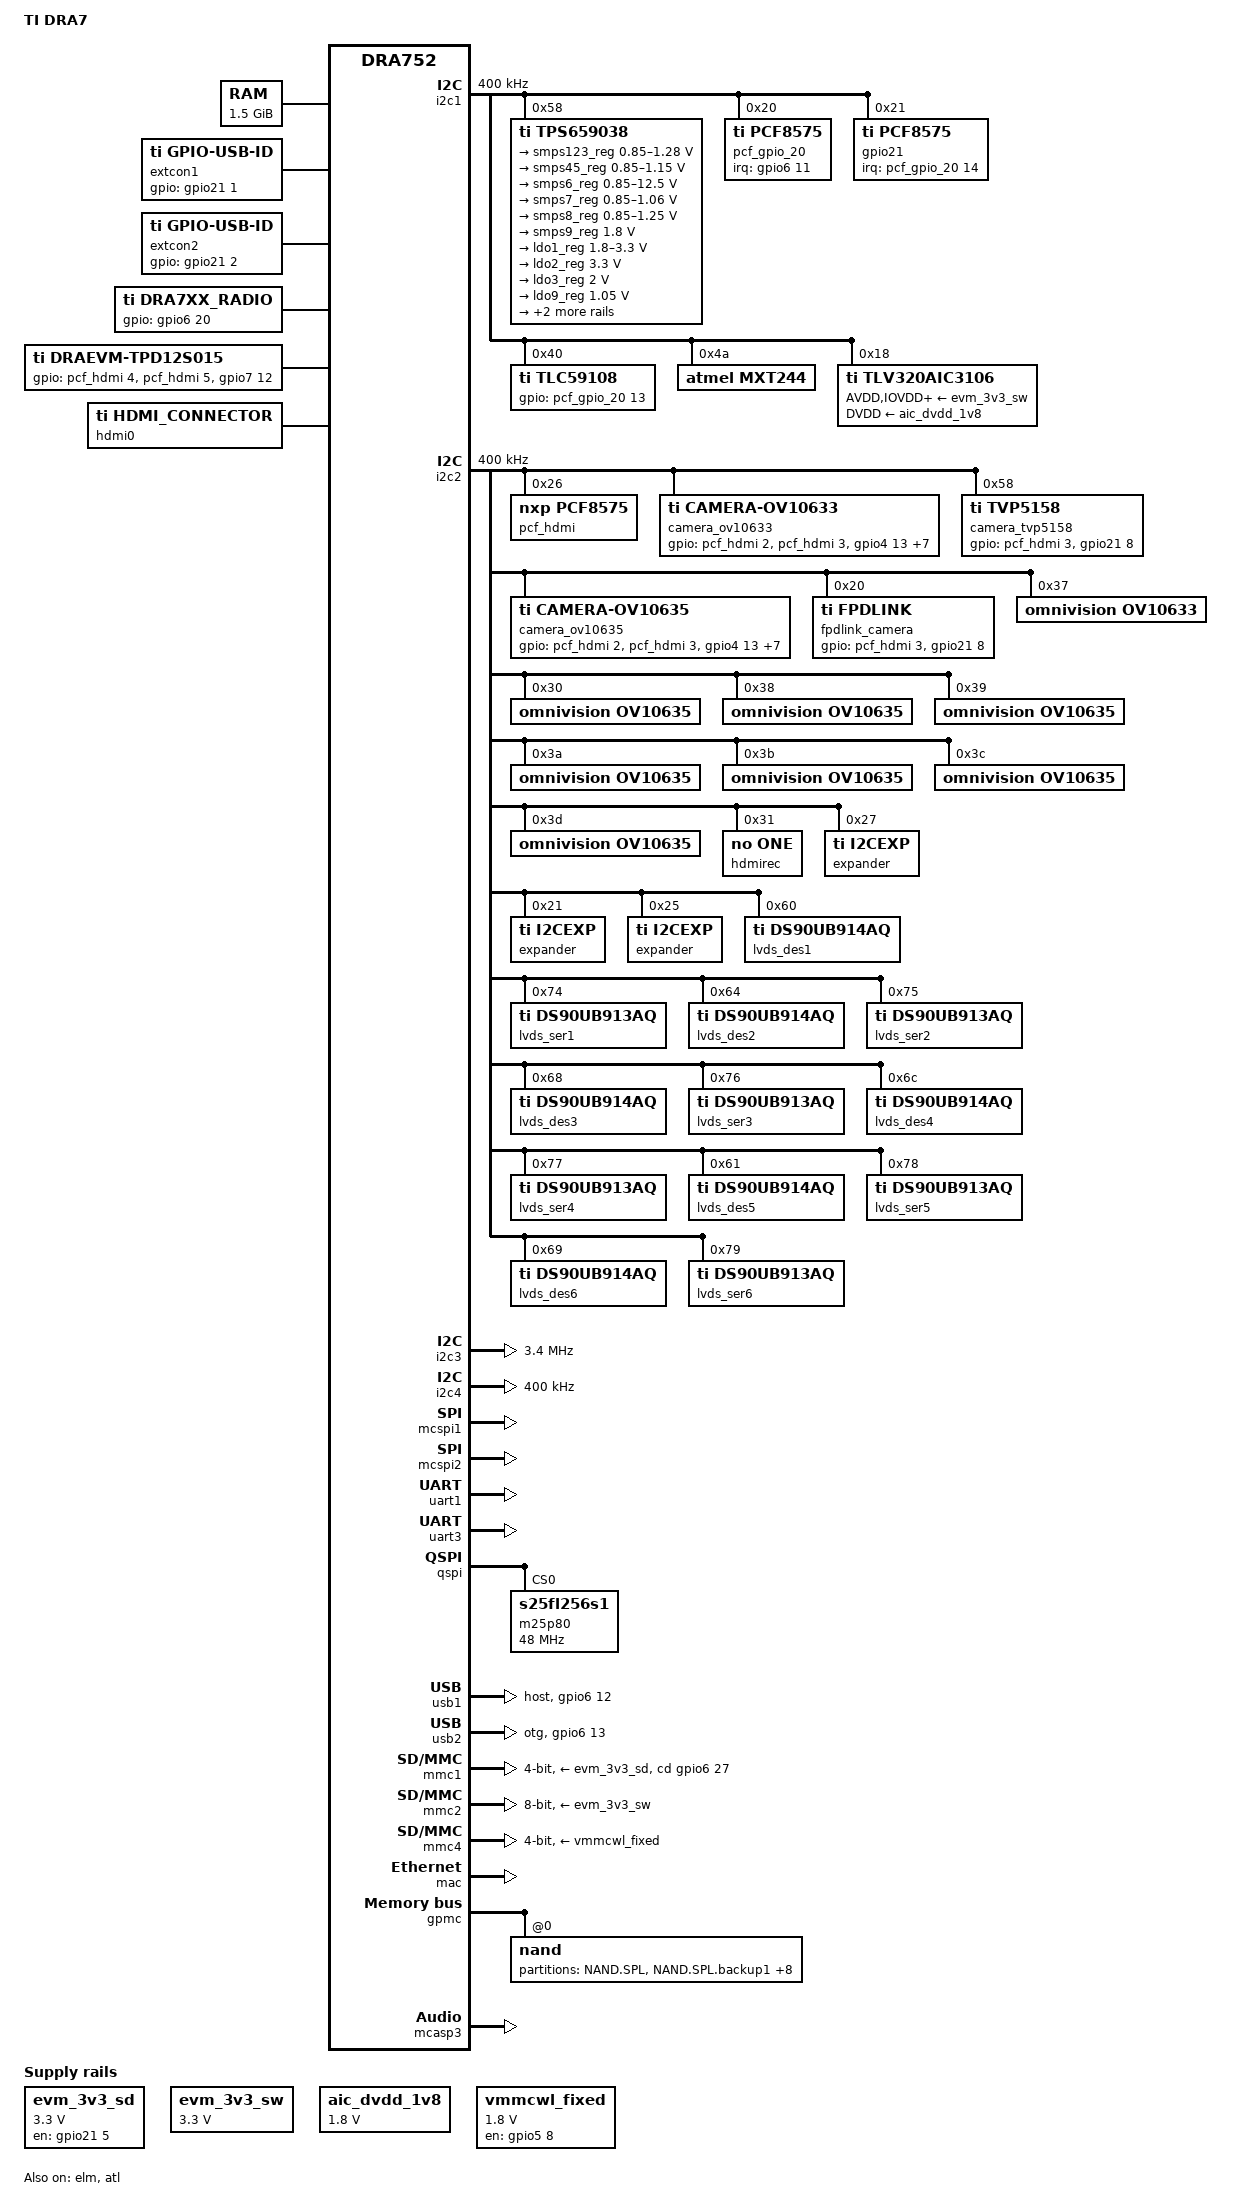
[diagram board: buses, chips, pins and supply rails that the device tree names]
/*
 * Copyright (C) 2013 Texas Instruments Incorporated - http://www.ti.com/
 *
 * This program is free software; you can redistribute it and/or modify
 * it under the terms of the GNU General Public License version 2 as
 * published by the Free Software Foundation.
 */
/dts-v1/;

#include "dra7.dtsi"
#include <dt-bindings/pinctrl/dra7xx.h>
#include <dt-bindings/clk/ti-dra7-atl.h>

/ {
	model = "TI DRA7";
	compatible = "ti,dra7-evm", "ti,dra752", "ti,dra7";

	memory {
		device_type = "memory";
		reg = <0x80000000 0x60000000>; /* 1536 MB */
	};

	extcon1: gpio_usbvid_extcon1 {
		compatible = "ti,gpio-usb-id";
		gpios = <&gpio21 1 0>;
	};

	extcon2: gpio_usbvid_extcon2 {
		compatible = "ti,gpio-usb-id";
		gpios = <&gpio21 2 0>;
	};

	evm_3v3_sd: fixedregulator-sd {
		compatible = "regulator-fixed";
		regulator-name = "evm_3v3_sd";
		regulator-min-microvolt = <3300000>;
		regulator-max-microvolt = <3300000>;
		enable-active-high;
		gpio = <&gpio21 5 0>;
	};

	evm_3v3_sw: fixedregulator-evm_3v3_sw {
		compatible = "regulator-fixed";
		regulator-name = "evm_3v3_sw";
		regulator-min-microvolt = <3300000>;
		regulator-max-microvolt = <3300000>;
	};

	aic_dvdd_1v8: fixedregulator-aic-dvdd-1v8 {
		compatible = "regulator-fixed";
		regulator-name = "aic-dvdd-1v8";
		regulator-min-microvolt = <1800000>;
		regulator-max-microvolt = <1800000>;
		regulator-boot-on;
	};

	sound {
		compatible = "ti,dra7xx-evm-audio";
		ti,model = "DRA7xx-EVM";
		ti,always-on;
		ti,audio-codec = <&tlv320aic3106>;
		ti,mcasp-controller = <&mcasp3>;
		ti,codec-clock-rate = <5644800>;
		clocks = <&atl_clkin2_ck>;
		clock-names = "ti,codec-clock";
		ti,audio-routing =
			"Headphone Jack",       "HPLOUT",
			"Headphone Jack",       "HPROUT",
			"LINE1L",               "Line In",
			"LINE1R",               "Line In",
			"MIC3L",		"Mic Bias 2V",
			"MIC3R",		"Mic Bias 2V",
			"Mic Bias 2V",		"Main Mic",
			"Line Out",		"LLOUT",
			"Line Out",		"RLOUT";
	};

	radio {
		compatible = "ti,dra7xx_radio";
		gpios = <&gpio6 20 0>;

		radio_helper1 {
			compatible = "ti,dra7xx_radio_subdev";
			ti,hwmods = "mcasp2";
			status = "okay";
		};

		radio_helper2 {
			compatible = "ti,dra7xx_radio_subdev";
			ti,hwmods = "mcasp6";
			status = "okay";
			clocks = <&mcasp6_ahclkx_mux>;
			clock-names = "fck";
			clock-frequency = <11289600>;
			fck_parent = "atl_clkin1_ck";
		};
	};

       vmmcwl_fixed: fixedregulator-mmcwl {
               compatible = "regulator-fixed";
               regulator-name = "vmmcwl_fixed";
               regulator-min-microvolt = <1800000>;
               regulator-max-microvolt = <1800000>;
               gpio = <&gpio5 8 0>;    /* gpio5_8 */
               startup-delay-us = <70000>;
               enable-active-high;
       };

       wlcore {
               compatible = "wlcore";
               gpio = <135>;
       };


	ocp {
		gpu: gpu@0x56000000 {
			gpu-supply = <&abb_gpu>;
		};
	};

       kim {
               compatible = "kim";
               nshutdown_gpio = <132>;
               dev_name = "/dev/ttyO2";
               flow_cntrl = <1>;
               baud_rate = <3686400>;
       };

       btwilink {
               compatible = "btwilink";
       };
};

&dra7_pmx_core {
	pinctrl-names = "default";
	pinctrl-0 = <
		&vout1_pins
		&irq_pins
		&atl_pins
		&mcasp6_pins
		&hpd_pin
		&radio_pins
		&wl_pins
		&wlirq_pins
	>;

	atl_pins: pinmux_atl_pins {
		pinctrl-single,pins = <
			0x298 0x00000005	/* xref_clk1.atl_clk1 OUTPUT | MODE5 */
			0x29c 0x00000005	/* xref_clk2.atl_clk2 OUTPUT | MODE5 */
		>;
	};

	i2c1_pins: pinmux_i2c1_pins {
		pinctrl-single,pins = <
			0x400 0x60000	/* i2c1_sda */
			0x404 0x60000	/* i2c1_scl */
		>;
	};

	i2c2_pins: pinmux_i2c2_pins {
		pinctrl-single,pins = <
			0x408 0x60000	/* i2c2_sda */
			0x40c 0x60000	/* i2c2_scl */
		>;
	};

	i2c3_pins: pinmux_i2c3_pins {
		pinctrl-single,pins = <
			0x410 0x60000	/* i2c3_sda */
			0x414 0x60000	/* i2c3_scl */
		>;
	};

	i2c4_pins: pinmux_i2c4_pins {
		pinctrl-single,pins = <
			0x0334	 0x70004 /* I2C4_SDA: Mode5.Input.PD */
			0x0338	 0x70004 /* I2C4_SCL: Mode5.Input.PD */
		>;
	};

	irq_pins: pinmux_irq_pins {
		pinctrl-single,pins = <
			0x420	0x1	/* Wakeup2 INPUT | MODE1 */
		>;
	};

	mmc1_pins: pinmux_mmc1_pins {
		pinctrl-single,pins = <
			0x36c 0x4000e	/* mmc1sdcd.gpio INPUT | MODE15 */
		>;
	};

	mmc1_muxpu: pinmux_mmc1_muxpu {
		pinctrl-single,pins = <
			0x354 0x60000	/* mmc1_clk.clk INPUT PULLUP | MODE0 */
			0x358 0x60000	/* mmc1_cmd.cmd INPUT PULLUP | MODE0 */
			0x35c 0x60000	/* mmc1_dat0.dat0 INPUT PULLUP | MODE0 */
			0x360 0x60000	/* mmc1_dat1.dat1 INPUT PULLUP | MODE0 */
			0x364 0x60000	/* mmc1_dat2.dat2 INPUT PULLUP | MODE0 */
			0x368 0x60000	/* mmc1_dat3.dat3 INPUT PULLUP | MODE0 */
		>;
	};

	mmc1_muxpd: pinmux_mmc1_muxpd {
		pinctrl-single,pins = <
			0x354 0x20000	/* mmc1_clk.clk INPUT PULLUP | MODE0 */
			0x358 0x20000	/* mmc1_cmd.cmd INPUT PULLUP | MODE0 */
			0x35c 0x20000	/* mmc1_dat0.dat0 INPUT PULLUP | MODE0 */
			0x360 0x20000	/* mmc1_dat1.dat1 INPUT PULLUP | MODE0 */
			0x364 0x20000	/* mmc1_dat2.dat2 INPUT PULLUP | MODE0 */
			0x368 0x20000	/* mmc1_dat3.dat3 INPUT PULLUP | MODE0 */
		>;
	};

	mcspi1_pins: pinmux_mcspi1_pins {
		pinctrl-single,pins = <
			0x3a4 0x40000	/* spi2_clk */
			0x3a8 0x40000	/* spi2_d1 */
			0x3ac 0x40000	/* spi2_d0 */
			0x3b0 0xc0000	/* spi2_cs0 */
			0x3b4 0xc0000	/* spi2_cs1 */
			0x3bc 0xe0006	/* spi2_cs3 */
		>;
	};

	mcspi2_pins: pinmux_mcspi2_pins {
		pinctrl-single,pins = <
			0x3c0 0x40000	/* spi2_sclk */
			0x3c4 0xc0000	/* spi2_d1 */
			0x3c8 0xc0000	/* spi2_d1 */
			0x3cc 0xe0000	/* spi2_cs0 */
		>;
	};

	uart1_pins: pinmux_uart1_pins {
		pinctrl-single,pins = <
			0x3e0 0xe0000	/* uart1_rxd */
			0x3e4 0xe0000	/* uart1_txd */
		>;
	};

	bt_uart3_pins: pinmux_bt_uart3_pins {
		pinctrl-single,pins = <
                        0x3c0 0x60001       /* uart3_rx.spi2_sclk:  INPUT | PULLUP | MODE 1 */
                        0x3c4 0x1           /* uart3_tx.spi2.d1:    OUTPUT |  MODE 1 */
                        0x3c8 0x40001       /* uart3_rts.spi2.c0:   OUTPUT | PULLUP | MODE 1 */
                        0x3cc 0x60001       /* uart3_cts.spi2.d0:   INPUT | MODE 1 */
                        0x2bc 0xE           /* BT_EN.gp5_4:         OUTPUT | MODE 14 */
		>;
	};

	qspi1_pins: pinmux_qspi1_pins {
		pinctrl-single,pins = <
			0x4c 0x40001  /* gpmc_a3.qspi1_cs2 */
			0x50 0x40001  /* gpmc_a4.qspi1_cs3 */
			0x74 0x40001  /* gpmc_a13.qspi1_rtclk */
			0x78 0x40001  /* gpmc_a14.qspi1_d3 */
			0x7c 0x40001  /* gpmc_a15.qspi1_d2 */
			0x80 0x40001  /* gpmc_a16.qspi1_d1 */
			0x84 0x40001  /* gpmc_a17.qspi1_d0 */
			0x88 0x40001  /* qpmc_a18.qspi1_sclk */
			0xb8 0x60001  /* gpmc_cs2.qspi1_cs0 */
			0xbc 0x60001  /* gpmc_cs3.qspi1_cs1 */
		>;
	};

	usb1_pins: pinmux_usb1_pins {
                pinctrl-single,pins = <
			0x280	0xc000e	/* usb1_drvvbus, SLOW_SLEW | PULLUPEN | MODE0 */
                >;
        };

	usb2_pins: pinmux_usb2_pins {
                pinctrl-single,pins = <
			0x284	0xc000e /* usb2_drvvbus, SLOW_SLEW | PULLUPEN | MODE0 */
                >;
        };

	vout1_pins: pinmux_vout1_pins {
		pinctrl-single,pins = <
			0x1C8	0x0	/* vout1_clk OUTPUT | MODE0 */
			0x1CC	0x0	/* vout1_de OUTPUT | MODE0 */
			0x1D0	0x0	/* vout1_fld OUTPUT | MODE0 */
			0x1D4	0x0	/* vout1_hsync OUTPUT | MODE0 */
			0x1D8	0x0	/* vout1_vsync OUTPUT | MODE0 */
			0x1DC	0x0	/* vout1_d0 OUTPUT | MODE0 */
			0x1E0	0x0	/* vout1_d1 OUTPUT | MODE0 */
			0x1E4	0x0	/* vout1_d2 OUTPUT | MODE0 */
			0x1E8	0x0	/* vout1_d3 OUTPUT | MODE0 */
			0x1EC	0x0	/* vout1_d4 OUTPUT | MODE0 */
			0x1F0	0x0	/* vout1_d5 OUTPUT | MODE0 */
			0x1F4	0x0	/* vout1_d6 OUTPUT | MODE0 */
			0x1F8	0x0	/* vout1_d7 OUTPUT | MODE0 */
			0x1FC	0x0	/* vout1_d8 OUTPUT | MODE0 */
			0x200	0x0	/* vout1_d9 OUTPUT | MODE0 */
			0x204	0x0	/* vout1_d10 OUTPUT | MODE0 */
			0x208	0x0	/* vout1_d11 OUTPUT | MODE0 */
			0x20C	0x0	/* vout1_d12 OUTPUT | MODE0 */
			0x210	0x0	/* vout1_d13 OUTPUT | MODE0 */
			0x214	0x0	/* vout1_d14 OUTPUT | MODE0 */
			0x218	0x0	/* vout1_d15 OUTPUT | MODE0 */
			0x21C	0x0	/* vout1_d16 OUTPUT | MODE0 */
			0x220	0x0	/* vout1_d17 OUTPUT | MODE0 */
			0x224	0x0	/* vout1_d18 OUTPUT | MODE0 */
			0x228	0x0	/* vout1_d19 OUTPUT | MODE0 */
			0x22C	0x0	/* vout1_d20 OUTPUT | MODE0 */
			0x230	0x0	/* vout1_d21 OUTPUT | MODE0 */
			0x234	0x0	/* vout1_d22 OUTPUT | MODE0 */
			0x238	0x0	/* vout1_d23 OUTPUT | MODE0 */
		>;
	};

	vin1a_pins: pinmux_vin1a_pins {
		pinctrl-single,pins = <
			0x0DC	(PIN_INPUT | MUX_MODE0)	/* vin1a_clk0  */
			0x0E4	(PIN_INPUT | MUX_MODE0)	/* vin1a_de0  */
			0x0E8	(PIN_INPUT | MUX_MODE0)	/* vin1a_fld0  */
			0x0EC	(PIN_INPUT | MUX_MODE0)	/* vin1a_hsync0	 */
			0x0F0	(PIN_INPUT | MUX_MODE0)	/* vin1a_vsync0  */
			0x0F4	(PIN_INPUT | MUX_MODE0)	/* vin1a_d0	 */
			0x0F8	(PIN_INPUT | MUX_MODE0)	/* vin1a_d1	 */
			0x0FC	(PIN_INPUT | MUX_MODE0)	/* vin1a_d2	 */
			0x100	(PIN_INPUT | MUX_MODE0)	/* vin1a_d3 	 */
			0x104	(PIN_INPUT | MUX_MODE0)	/* vin1a_d4 	 */
			0x108	(PIN_INPUT | MUX_MODE0)	/* vin1a_d5	 */
			0x10C	(PIN_INPUT | MUX_MODE0)	/* vin1a_d6	 */
			0x110	(PIN_INPUT | MUX_MODE0)	/* vin1a_d7	 */
			0x114	(PIN_INPUT | MUX_MODE0)	/* vin1a_d8	 */
			0x118	(PIN_INPUT | MUX_MODE0)	/* vin1a_d9	 */
			0x11C	(PIN_INPUT | MUX_MODE0)	/* vin1a_d10	 */
			0x120	(PIN_INPUT | MUX_MODE0)	/* vin1a_d11	 */
			0x124	(PIN_INPUT | MUX_MODE0)	/* vin1a_d12	 */
			0x128	(PIN_INPUT | MUX_MODE0)	/* vin1a_d13	 */
			0x12C	(PIN_INPUT | MUX_MODE0)	/* vin1a_d14	 */
			0x130	(PIN_INPUT | MUX_MODE0)	/* vin1a_d15	 */
		>;
	};

	vin1a_d16_d23_pins: pinmux_vin1a_d16_d23_pins {
		pinctrl-single,pins = <
			0x134   (PIN_INPUT | MUX_MODE0)	/* vin1a_d16  */
			0x138   (PIN_INPUT | MUX_MODE0)	/* vin1a_d17  */
			0x13C   (PIN_INPUT | MUX_MODE0)	/* vin1a_d18  */
			0x140   (PIN_INPUT | MUX_MODE0)	/* vin1a_d19  */
			0x144   (PIN_INPUT | MUX_MODE0)	/* vin1a_d20  */
			0x148   (PIN_INPUT | MUX_MODE0)	/* vin1a_d21  */
			0x14C   (PIN_INPUT | MUX_MODE0)	/* vin1a_d22  */
			0x150   (PIN_INPUT | MUX_MODE0)	/* vin1a_d23  */

		>;
	};

	vin2a_pins: pinmux_vin2a_pins {
		pinctrl-single,pins = <
			0x154	(PIN_INPUT | MUX_MODE0)	/* vin2a_clk0  */
			0x160	(PIN_INPUT | MUX_MODE0)	/* vin2a_hsync0  */
			0x164	(PIN_INPUT | MUX_MODE0)	/* vin2a_vsync0  */
			0x168	(PIN_INPUT | MUX_MODE0)	/* vin2a_d0	 */
			0x16c	(PIN_INPUT | MUX_MODE0)	/* vin2a_d1	 */
			0x170	(PIN_INPUT | MUX_MODE0)	/* vin2a_d2	 */
			0x174	(PIN_INPUT | MUX_MODE0)	/* vin2a_d3	 */
			0x178	(PIN_INPUT | MUX_MODE0)	/* vin2a_d4	 */
			0x17c	(PIN_INPUT | MUX_MODE0)	/* vin2a_d5	 */
			0x180	(PIN_INPUT | MUX_MODE0)	/* vin2a_d6	 */
			0x184	(PIN_INPUT | MUX_MODE0)	/* vin2a_d7	 */
		>;
	};

        vin3a_pins: pinmux_vin3a_pins {
		pinctrl-single,pins = <
			0x0E0	(PIN_INPUT | MUX_MODE6)	/* vin3a_clk0  */
			0x1C0	(PIN_INPUT | MUX_MODE5)	/* vin3a_hsync0  */
			0x1C4	(PIN_INPUT | MUX_MODE5)	/* vin3a_vsync0  */
			0x134	(PIN_INPUT | MUX_MODE6)	/* vin3a_d0	 */
			0x138	(PIN_INPUT | MUX_MODE6)	/* vin3a_d1	 */
			0x13C	(PIN_INPUT | MUX_MODE6)	/* vin3a_d2	 */
			0x140	(PIN_INPUT | MUX_MODE6)	/* vin3a_d3 	 */
			0x144	(PIN_INPUT | MUX_MODE6)	/* vin3a_d4 	 */
			0x148	(PIN_INPUT | MUX_MODE6)	/* vin3a_d5	 */
			0x14C	(PIN_INPUT | MUX_MODE6)	/* vin3a_d6	 */
			0x150	(PIN_INPUT | MUX_MODE6)	/* vin3a_d7	 */
                >;
        };

	vin5a_pins: pinmux_vin5a_pins {
		pinctrl-single,pins = <
			0x374	(PIN_INPUT | MUX_MODE9)	/* vin5a_clk0  */
			0x39c	(PIN_INPUT | MUX_MODE9)	/* vin5a_hsync0  */
			0x3a0	(PIN_INPUT | MUX_MODE9)	/* vin5a_vsync0  */
			0x398	(PIN_INPUT | MUX_MODE9)	/* vin5a_d0	 */
			0x394	(PIN_INPUT | MUX_MODE9)	/* vin5a_d1	 */
			0x390	(PIN_INPUT | MUX_MODE9)	/* vin5a_d2	 */
			0x38c	(PIN_INPUT | MUX_MODE9)	/* vin5a_d3 	 */
			0x388	(PIN_INPUT | MUX_MODE9)	/* vin5a_d4 	 */
			0x384	(PIN_INPUT | MUX_MODE9)	/* vin5a_d5	 */
			0x380	(PIN_INPUT | MUX_MODE9)	/* vin5a_d6	 */
			0x37c	(PIN_INPUT | MUX_MODE9)	/* vin5a_d7	 */
                >;
        };

	vin6a_pins: pinmux_vin6a_pins {
		pinctrl-single,pins = <
			0x298	(PIN_INPUT | MUX_MODE7)	/* vin6a_clk0  */
			0x2B8	(PIN_INPUT | MUX_MODE7)	/* vin6a_hsync0  */
			0x2B4	(PIN_INPUT | MUX_MODE7)	/* vin6a_vsync0  */
			0x330	(PIN_INPUT | MUX_MODE7)	/* vin6a_d0	 */
			0x32C	(PIN_INPUT | MUX_MODE7)	/* vin6a_d1	 */
			0x328	(PIN_INPUT | MUX_MODE7)	/* vin6a_d2	 */
			0x324	(PIN_INPUT | MUX_MODE7)	/* vin6a_d3	 */
			0x310	(PIN_INPUT | MUX_MODE7)	/* vin6a_d4	 */
			0x30C	(PIN_INPUT | MUX_MODE7)	/* vin6a_d5	 */
			0x2F8	(PIN_INPUT | MUX_MODE7)	/* vin6a_d6	 */
			0x2F4	(PIN_INPUT | MUX_MODE7)	/* vin6a_d7	 */
		>;
	};

	cpsw_default: cpsw_default {
		pinctrl-single,pins = <
			/* Slave 1 */
			0x250 (PIN_OUTPUT | MUX_MODE0)	/* rgmii1_tclk */
			0x254 (PIN_OUTPUT | MUX_MODE0)	/* rgmii1_tctl */
			0x258 (PIN_OUTPUT | MUX_MODE0)	/* rgmii1_td3 */
			0x25c (PIN_OUTPUT | MUX_MODE0)	/* rgmii1_td2 */
			0x260 (PIN_OUTPUT | MUX_MODE0)	/* rgmii1_td1 */
			0x264 (PIN_OUTPUT | MUX_MODE0)	/* rgmii1_td0 */
			0x268 (PIN_INPUT | MUX_MODE0)	/* rgmii1_rclk */
			0x26c (PIN_INPUT | MUX_MODE0)	/* rgmii1_rctl */
			0x270 (PIN_INPUT | MUX_MODE0)	/* rgmii1_rd3 */
			0x274 (PIN_INPUT | MUX_MODE0)	/* rgmii1_rd2 */
			0x278 (PIN_INPUT | MUX_MODE0)	/* rgmii1_rd1 */
			0x27c (PIN_INPUT | MUX_MODE0)	/* rgmii1_rd0 */

			/* Slave 2 */
			0x198 (PIN_OUTPUT | MUX_MODE3)	/* rgmii2_tclk */
			0x19c (PIN_OUTPUT | MUX_MODE3)	/* rgmii2_tctl */
			0x1a0 (PIN_OUTPUT | MUX_MODE3)	/* rgmii2_td3 */
			0x1a4 (PIN_OUTPUT | MUX_MODE3)	/* rgmii2_td2 */
			0x1a8 (PIN_OUTPUT | MUX_MODE3)	/* rgmii2_td1 */
			0x1ac (PIN_OUTPUT | MUX_MODE3)	/* rgmii2_td0 */
			0x1b0 (PIN_INPUT | MUX_MODE3)	/* rgmii2_rclk */
			0x1b4 (PIN_INPUT | MUX_MODE3)	/* rgmii2_rctl */
			0x1b8 (PIN_INPUT | MUX_MODE3)	/* rgmii2_rd3 */
			0x1bc (PIN_INPUT | MUX_MODE3)	/* rgmii2_rd2 */
			0x1c0 (PIN_INPUT | MUX_MODE3)	/* rgmii2_rd1 */
			0x1c4 (PIN_INPUT | MUX_MODE3)	/* rgmii2_rd0 */
		>;

	};
	cpsw_sleep: cpsw_sleep {
		pinctrl-single,pins = <
			/* Slave 1 */
			0x250 (PIN_OFF_NONE)
			0x254 (PIN_OFF_NONE)
			0x258 (PIN_OFF_NONE)
			0x25c (PIN_OFF_NONE)
			0x260 (PIN_OFF_NONE)
			0x264 (PIN_OFF_NONE)
			0x268 (PIN_OFF_NONE)
			0x26c (PIN_OFF_NONE)
			0x270 (PIN_OFF_NONE)
			0x274 (PIN_OFF_NONE)
			0x278 (PIN_OFF_NONE)
			0x27c (PIN_OFF_NONE)

			/* Slave 1 */
			0x198 (PIN_OFF_NONE)
			0x19c (PIN_OFF_NONE)
			0x1a0 (PIN_OFF_NONE)
			0x1a4 (PIN_OFF_NONE)
			0x1a8 (PIN_OFF_NONE)
			0x1ac (PIN_OFF_NONE)
			0x1b0 (PIN_OFF_NONE)
			0x1b4 (PIN_OFF_NONE)
			0x1b8 (PIN_OFF_NONE)
			0x1bc (PIN_OFF_NONE)
			0x1c0 (PIN_OFF_NONE)
			0x1c4 (PIN_OFF_NONE)
		>;
	};

	davinci_mdio_default: davinci_mdio_default {
		pinctrl-single,pins = <
			/* MDIO */
			0x23c (PIN_OUTPUT_PULLUP | MUX_MODE0)	/* mdio_data */
			0x240 (PIN_INPUT_PULLUP | MUX_MODE0)	/* mdio_clk */
		>;
	};

	davinci_mdio_sleep: davinci_mdio_sleep {
		pinctrl-single,pins = <
			0x23c (PIN_OFF_NONE)
			0x240 (PIN_OFF_NONE)
		>;
	};

	nand_flash_x16: nand_flash_x16 {
		/* On DRA7 EVM, GPMC_WPN and NAND_BOOTn comes from DIP switch
		 * So NAND flash requires following switch settings:
		 * SW5.9 (GPMC_WPN) = LOW
		 * SW5.1 (NAND_BOOTn) = HIGH */
		pinctrl-single,pins = <
			0x0 	0x70000 /* (PIN_INPUT | MUX_MODE0)	gpmc_ad0	*/
			0x4 	0x70000 /* (PIN_INPUT | MUX_MODE0)	gpmc_ad1	*/
			0x8 	0x70000 /* (PIN_INPUT | MUX_MODE0)	gpmc_ad2	*/
			0xc 	0x70000 /* (PIN_INPUT | MUX_MODE0)	gpmc_ad3	*/
			0x10 	0x70000 /* (PIN_INPUT | MUX_MODE0)	gpmc_ad4	*/
			0x14 	0x70000 /* (PIN_INPUT | MUX_MODE0)	gpmc_ad5	*/
			0x18 	0x70000 /* (PIN_INPUT | MUX_MODE0)	gpmc_ad6	*/
			0x1c 	0x70000 /* (PIN_INPUT | MUX_MODE0)	gpmc_ad7	*/
			0x20 	0x70000 /* (PIN_INPUT | MUX_MODE0)	gpmc_ad8	*/
			0x24 	0x70000 /* (PIN_INPUT | MUX_MODE0)	gpmc_ad9	*/
			0x28 	0x70000 /* (PIN_INPUT | MUX_MODE0)	gpmc_ad10	*/
			0x2c 	0x70000 /* (PIN_INPUT | MUX_MODE0)	gpmc_ad11	*/
			0x30 	0x70000 /* (PIN_INPUT | MUX_MODE0)	gpmc_ad12	*/
			0x34 	0x70000 /* (PIN_INPUT | MUX_MODE0)	gpmc_ad13	*/
			0x38 	0x70000 /* (PIN_INPUT | MUX_MODE0)	gpmc_ad14	*/
			0x3c 	0x70000 /* (PIN_INPUT | MUX_MODE0)	gpmc_ad15	*/
			0xD8 	0x70000 /* (PIN_INPUT | MUX_MODE0)	gpmc_wait0	*/
			0xCC 	0x0 	/* (PIN_OUTPUT	   | MUX_MODE0)	gpmc_wen	*/
			0xB4 	0x0	/* (PIN_OUTPUT | MUX_MODE0)	gpmc_csn0	*/
			0xC4 	0x0	/* (PIN_OUTPUT 	   | MUX_MODE0)	gpmc_advn_ale */
			0xC8 	0x0	/* (PIN_OUTPUT	   | MUX_MODE0)	gpmc_oen_ren	 */
			0xD0 	0x0	/* (PIN_OUTPUT 	   | MUX_MODE0)	gpmc_be0n_cle */
		>;
	};

	mcasp3_pins: pinmux_mcasp3_pins {
		pinctrl-single,pins = <
			0x324 0x10180	/* mcasp3_aclkx.mcasp3_aclkx	Mode0.Output.PD */
			0x328 0x10180	/* mcasp3_fsx.mcasp3_fsx	Mode0.Output.PD */
			0x32c 0x10180	/* mcasp3_axr0.mcasp3_axr0	Mode0.Output.PD */
			0x330 0x50160	/* mcasp3_axr1.mcasp3_axr1	Mode0.Input.PD */
		>;
	};

	mcasp6_pins: pinmux_mcasp6_pins {
		pinctrl-single,pins = <
			0x2d4 0x001a1	/* mcasp1_axr8.mcasp6_axr0	Mode1.Output.PD */
			0x2d8 0x401a1	/* mcasp1_axr9.mcasp6_axr1	Mode1.Input.PD */
			0x2dc 0x001a1	/* mcasp1_axr10.mcasp6_clkx	Mode1.Output.PD */
			0x2e0 0x001a1	/* mcasp1_axr11.mcasp6_fsx	Mode1.Output.PD */
		>;
	};

	mcasp3_sleep_pins: pinmux_mcasp3_sleep_pins {
		pinctrl-single,pins = <
			0x324 (PIN_OFF_NONE)
			0x328 (PIN_OFF_NONE)
			0x32c (PIN_OFF_NONE)
			0x330 (PIN_OFF_NONE)
		>;
	};

	hpd_pin: pinmux_hpd_pin {
		pinctrl-single,pins = <
			0x3b8	0x5000e	/* gpio7_12 INPUT | MODE14 */
		>;
	};

	radio_pins: pinmux_radio_pins {
		pinctrl-single,pins = <
			0x02F4	 0x40000 /* MCASP2_ACLKX: Mode0.Input.PD */
			0x02F8	 0xc0000 /* MCASP2_AFSX: Mode0.Input.PD */
			0x0304	 0x40000 /* MCASP2_AXR0: Mode0.Input.PD */
			0x0308	 0x40000 /* MCASP2_AXR1: Mode0.Input.PD */
			0x030C	 0xc0000 /* MCASP2_AXR2: Mode0.Input.PD */
			0x0310	 0xc0000 /* MCASP2_AXR3: Mode0.Input.PD */
			0x0314	 0x40000 /* MCASP2_AXR4: Mode0.Input.PD */
			0x0318	 0x40000 /* MCASP2_AXR5: Mode0.Input.PD */
			0x031c	 0x40000 /* MCASP2_AXR6: Mode0.Input.PD */
			0x0320	 0x40000 /* MCASP2_AXR7: Mode0.Input.PD */
			0x02A0	 0x5000e /* GPIO6_20: Mode15.Input.PD */
		>;
	};

       wl_pins: pinmux_wl_pins {
               pinctrl-single,pins = <
                       0x3e8 0x60003   /* MMC4_CLK: INPUTENABLE | PULLUP | MODE3 */
                       0x3ec 0x60003   /* MMC4_CMD: INPUTENABLE | PULLUP | MODE3 */
                       0x3f0 0x60003   /* MMC4_DAT0: INPUTENABLE | PULLUP | MODE3 */
                       0x3f4 0x60003   /* MMC4_DAT1: INPUTENABLE | PULLUP | MODE3 */
                       0x3f8 0x60003   /* MMC4_DAT2: INPUTENABLE | PULLUP | MODE3 */
                       0x3fc 0x60003   /* MMC4_DAT3: INPUTENABLE | PULLUP | MODE3 */
                       0x2cc 0x2000E   /* WLAN_EN: OUTPUT | MODE14 */
               >;
       };

       wlirq_pins: pinmux_wlirq_pins {
               pinctrl-single,pins = <
                       0x2c8 0x106000E /* WLAN_IRQ: INPUT | WAKEUP_ENABLE | MODE 14 */
               >;
       };

};

&i2c1 {
	status = "okay";
	pinctrl-names = "default";
	pinctrl-0 = <&i2c1_pins>;
	clock-frequency = <400000>;

	tps659038: tps659038@58 {
		compatible = "ti,tps659038";
		reg = <0x58>;

		tps659038_pmic {
			compatible = "ti,tps659038-pmic";

			regulators {
				smps123_reg: smps123 {
					/* VDD_MPU */
						regulator-name = "smps123";
						regulator-min-microvolt = < 850000>;
						regulator-max-microvolt = <1280000>;
						regulator-always-on;
						regulator-boot-on;
					};

				smps45_reg: smps45 {
						/* VDD_DSPEVE */
						regulator-name = "smps45";
						regulator-min-microvolt = < 850000>;
						regulator-max-microvolt = <1150000>;
						regulator-boot-on;
					};

				smps6_reg: smps6 {
						/* VDD_GPU - over VDD_SMPS6 */
						regulator-name = "smps6";
						regulator-min-microvolt = <850000>;
						regulator-max-microvolt = <12500000>;
						regulator-boot-on;
					};

				smps7_reg: smps7 {
						/* CORE_VDD */
						regulator-name = "smps7";
						regulator-min-microvolt = <850000>;
						regulator-max-microvolt = <1060000>;
						regulator-always-on;
						regulator-boot-on;
					};

				smps8_reg: smps8 {
						/* VDD_IVAHD */
						regulator-name = "smps8";
						regulator-min-microvolt = < 850000>;
						regulator-max-microvolt = <1250000>;
						regulator-boot-on;
					};

				smps9_reg: smps9 {
						/* VDDS1V8 */
						regulator-name = "smps9";
						regulator-min-microvolt = <1800000>;
						regulator-max-microvolt = <1800000>;
						regulator-always-on;
						regulator-boot-on;
					};

				ldo1_reg: ldo1 {
						/* LDO1_OUT --> SDIO  */
						regulator-name = "ldo1";
						regulator-min-microvolt = <1800000>;
						regulator-max-microvolt = <3300000>;
						regulator-always-on;
						regulator-boot-on;
					};

				ldo2_reg: ldo2 {
						/* VDD_RTCIO */
						/* LDO2 -> VDDSHV5, LDO2 also goes to CAN_PHY_3V3 */
						regulator-name = "ldo2";
						regulator-min-microvolt = <3300000>;
						regulator-max-microvolt = <3300000>;
						regulator-boot-on;
					};

				ldo3_reg: ldo3 {
						/* VDDA_1V8_PHY */
						regulator-name = "ldo3";
						regulator-min-microvolt = <2000000>;
						regulator-max-microvolt = <2000000>;
						regulator-boot-on;
						regulator-always-on;
					};

				ldo9_reg: ldo9 {
						/* VDD_RTC */
						regulator-name = "ldo9";
						regulator-min-microvolt = <1050000>;
						regulator-max-microvolt = <1050000>;
						regulator-boot-on;
					};

				ldoln_reg: ldoln {
						/* VDDA_1V8_PLL */
						regulator-name = "ldoln";
						regulator-min-microvolt = <1800000>;
						regulator-max-microvolt = <1800000>;
						regulator-always-on;
						regulator-boot-on;
					};

				ldousb_reg: ldousb {
						/* VDDA_3V_USB: VDDA_USBHS33 */
						regulator-name = "ldousb";
						regulator-min-microvolt = <3300000>;
						regulator-max-microvolt = <3300000>;
						regulator-boot-on;
					};

				};
			};
		};

	pcf_gpio_20: gpio@20 {
		compatible = "ti,pcf8575";
		reg = <0x20>;
		lines-initial-states = <0x4000>;
		gpio-controller;
		#gpio-cells = <2>;
		interrupt-parent = <&gpio6>;
		interrupts = <11 2>;
		interrupt-controller;
		#interrupt-cells = <2>;
	};

	gpio21: gpio@21 {
		compatible = "ti,pcf8575";
		reg = <0x21>;
		lines-initial-states = <0x1408>;
		gpio-controller;
		#gpio-cells = <2>;
		interrupt-parent = <&pcf_gpio_20>;
		interrupts = <14 2>;
		interrupt-controller;
		#interrupt-cells = <2>;
	};

	/* TLC chip for LCD panel power and backlight */
	tlc59108: tlc59108@40 {
		compatible = "ti,tlc59108";
		reg = <0x40>;
		gpios = <&pcf_gpio_20 13 0>; /* P15, CON_LCD_PWR_DN */
		video-source = <&dpi1>;
		data-lines = <24>;
	};

	mxt244: touchscreen@4a {
		compatible = "atmel,mXT244";
		status = "okay";
		reg = <0x4a>;
		interrupts = <0 119 0x4>;

		atmel,config = <
			/* MXT244_GEN_COMMAND(6) */
			0x00 0x00 0x00 0x00 0x00 0x00
			/* MXT244_GEN_POWER(7) */
			0x20 0xff 0x32
			/* MXT244_GEN_ACQUIRE(8) */
			0x0a 0x00 0x05 0x00 0x00 0x00 0x09 0x23
			/* MXT244_TOUCH_MULTI(9) */
			0x00 0x00 0x00 0x13 0x0b 0x00 0x00 0x00 0x02 0x00
			0x00 0x01 0x01 0x0e 0x0a 0x0a 0x0a 0x0a 0x00 0x00
			0x00 0x00 0x00 0x00 0x00 0x00 0x00 0x00 0x00 0x00
			0x00
			/* MXT244_TOUCH_KEYARRAY(15) */
			0x00 0x00 0x00 0x00 0x00 0x00 0x00 0x00 0x00 0x00
			0x00
			/* MXT244_COMMSCONFIG_T18(2) */
			0x00 0x00
			/* MXT244_SPT_GPIOPWM(19) */
			0x00 0x00 0x00 0x00 0x00 0x00 0x00 0x00 0x00 0x00
			0x00 0x00 0x00 0x00 0x00 0x00
			/* MXT244_PROCI_GRIPFACE(20) */
			0x07 0x00 0x00 0x00 0x00 0x00 0x00 0x50 0x28 0x04
			0x0f 0x0a
			/* MXT244_PROCG_NOISE(22) */
			0x05 0x00 0x00 0x00 0x00 0x00 0x00 0x03 0x23 0x00
			0x00 0x05 0x0f 0x19 0x23 0x2d 0x03
			/* MXT244_TOUCH_PROXIMITY(23) */
			0x00 0x00 0x00 0x00 0x00 0x00 0x00 0x00 0x00 0x00
			0x00 0x00 0x00 0x00 0x00
			/* MXT244_PROCI_ONETOUCH(24) */
			0x00 0x00 0x00 0x00 0x00 0x00 0x00 0x00 0x00 0x00
			0x00 0x00 0x00 0x00 0x00 0x00 0x00 0x00 0x00
			/* MXT244_SPT_SELFTEST(25) */
			0x00 0x00 0x00 0x00 0x00 0x00 0x00 0x00 0x00 0x00
			0x00 0x00 0x00 0x00
			/* MXT244_PROCI_TWOTOUCH(27) */
			0x00 0x00 0x00 0x00 0x00 0x00 0x00
			/* MXT244_SPT_CTECONFIG(28) */
			0x00 0x00 0x02 0x08 0x10 0x00
		>;

		atmel,x_line = <18>;
		atmel,y_line = <12>;
		atmel,x_size = <800>;
		atmel,y_size = <480>;
		atmel,blen = <0x01>;
		atmel,threshold = <30>;
		atmel,voltage = <2800000>;
		atmel,orient = <0x4>;
	};

	tlv320aic3106: tlv320aic3106@18 {
		compatible = "ti,tlv320aic3106";
		reg = <0x18>;
		adc-settle-ms = <40>;
		status = "okay";

		/* Regulators */
		AVDD-supply = <&evm_3v3_sw>;
		IOVDD-supply = <&evm_3v3_sw>;
		DRVDD-supply = <&evm_3v3_sw>;
		DVDD-supply = <&aic_dvdd_1v8>;
	};
};

&i2c2 {
	status = "okay";
	pinctrl-names = "default";
	pinctrl-0 = <&i2c2_pins>;
	clock-frequency = <400000>;

	pcf_hdmi: gpio@26 {
		compatible = "nxp,pcf8575";
		reg = <0x26>;
		lines-initial-states = <0xffeb>;
		gpio-controller;
		#gpio-cells = <2>;
	};

	camera_ov10633: camera_ov10633 {
		compatible = "ti,camera-ov10633";
		gpios = <&pcf_hdmi 2 0>,	/* VIN2_S0 */
			<&pcf_hdmi 3 0>,	/* CAM_FPD_MUX_S0 */
			<&gpio4 13 0>,		/* MUX1_SEL0 */
			<&gpio4 14 0>,		/* MUX1_SEL1 */
			<&gpio4 15 0>,		/* MUX2_SEL0 */
			<&gpio4 16 0>,		/* MUX2_SEL1 */
			<&gpio6 17 0>,		/* OV_PWDN */
			<&gpio2 29 0>,		/* DEMUX_FPD_A */
			<&gpio1 4 0>,		/* DEMUX_FPD_B */
			<&gpio6 7 0>;		/* DEMUX_FPD_C */
		ovnode = <&i2c2>;
	};

	camera_tvp5158: camera_tvp5158 {
		compatible = "ti,tvp5158";
		reg = <0x58>;
		gpios = <&pcf_hdmi 3 0>,
		       <&gpio21 8 0>;
		port {
			tvp5158: endpoint {
			// No props incase of BT656
			};
		};
       };

	camera_ov10635: camera_ov10635 {
		compatible = "ti,camera-ov10635";
		gpios = <&pcf_hdmi 2 0>,	/* VIN2_S0 */
			<&pcf_hdmi 3 0>,	/* CAM_FPD_MUX_S0 */
			<&gpio4 13 0>,		/* MUX1_SEL0 */
			<&gpio4 14 0>,		/* MUX1_SEL1 */
			<&gpio4 15 0>,		/* MUX2_SEL0 */
			<&gpio4 16 0>,		/* MUX2_SEL1 */
			<&gpio6 17 0>,		/* OV_PWDN */
			<&gpio2 29 0>,		/* DEMUX_FPD_A */
			<&gpio1 4 0>,		/* DEMUX_FPD_B */
			<&gpio6 7 0>;		/* DEMUX_FPD_C */
		ovnode = <&i2c2>;
	};

	fpdlink_camera {
		compatible = "ti,fpdlink";
		reg = <0x20>;
		gpios =	<&pcf_hdmi 3 0>,
			<&gpio21 8 0>;
		port {
			cam_fpdlink: endpoint {
				hsync-active = <1>;
				vsync-active = <1>;
				pclk-sample = <0>;
				bus-width = <24>;
			};
		};
       };

	ov10633@37 {
		compatible = "omnivision,ov10633";
		reg = <0x37>;

		port {
			onboardLI: endpoint {
				hsync-active = <1>;
				vsync-active = <1>;
				pclk-sample = <1>;
			};
		};
	};

        ov10635@30 {
		compatible = "omnivision,ov10635";
		reg = <0x30>;

		port {
			ovcam: endpoint {
				hsync-active = <1>;
				vsync-active = <1>;
				pclk-sample = <1>;
			};
		};
	};

        ov10635@38 {
		compatible = "omnivision,ov10635";
		reg = <0x38>;
		deserializer = <&lvds_des1>;
		serializer = <&lvds_ser1>;

		port {
			cam1: endpoint {
				hsync-active = <1>;
				vsync-active = <1>;
				pclk-sample = <0>;
			};
		};
	};

	ov10635@39 {
		compatible = "omnivision,ov10635";
		reg = <0x39>;
		deserializer = <&lvds_des2>;
		serializer = <&lvds_ser2>;

		port {
			cam2: endpoint {
				hsync-active = <1>;
				vsync-active = <1>;
				pclk-sample = <0>;
			};
		};
	};

	ov10635@3a {
		compatible = "omnivision,ov10635";
		reg = <0x3a>;
		deserializer = <&lvds_des3>;
		serializer = <&lvds_ser3>;

		port {
			cam3: endpoint {
				hsync-active = <1>;
				vsync-active = <1>;
				pclk-sample = <0>;
			};
		};
	};

	ov10635@3b {
		compatible = "omnivision,ov10635";
		reg = <0x3b>;
		deserializer = <&lvds_des4>;
		serializer = <&lvds_ser4>;

		port {
			cam4: endpoint {
				hsync-active = <1>;
				vsync-active = <1>;
				pclk-sample = <0>;
			};
		};
	};

	ov10635@3c {
		compatible = "omnivision,ov10635";
		reg = <0x3c>;
		deserializer = <&lvds_des5>;
		serializer = <&lvds_ser5>;

		port {
			cam5: endpoint {
				hsync-active = <1>;
				vsync-active = <1>;
				pclk-sample = <0>;
			};
		};
	};

	ov10635@3d {
		compatible = "omnivision,ov10635";
		reg = <0x3d>;
		deserializer = <&lvds_des6>;
		serializer = <&lvds_ser6>;

		port {
			cam6: endpoint {
				hsync-active = <1>;
				vsync-active = <1>;
				pclk-sample = <0>;
			};
		};
	};

	/*
	 * This is a HDMI reciever which conflicts with the I2C addresses
	 * of I/O expanders. It needs to be configured to use some other
	 * address.
	 */
	hdmirec: hdmirec@31 {
		compatible = "no,one";
		reg=<0x31>;
	};

	/*
	 * These are I/O expanders which drive some signals of the deserializer
	 * Each 16bit I/O expander drives two deserializers
	 * The mapping of I/O expanders and deserializer is as follows:-
	 * I/O Expander	| Deserializer
	 * -------------+----------------
	 * Exp1(0x27)	| lvds_des1(0x60)
	 * Exp1(0x27)	| lvds_des2(0x64)
	 * Exp1(0x21)	| lvds_des3(0x68)
	 * Exp1(0x21)	| lvds_des4(0x6c)
	 * Exp1(0x25)	| lvds_des5(0x61)
	 * Exp1(0x25)	| lvds_des6(0x69)
	 */
	expander@27 {
		compatible = "ti,i2cexp";
		reg=<0x27>;
		hdmirec = <&hdmirec>;
	};

	expander@21 {
		compatible = "ti,i2cexp";
		reg=<0x21>;
		hdmirec = <&hdmirec>;
	};

	expander@25 {
		compatible = "ti,i2cexp";
		reg=<0x25>;
		hdmirec = <&hdmirec>;
	};

	lvds_des1: ds90ub914aq@60 {
		compatible = "ti,ds90ub914aq";
		reg = <0x60>;
	};

	lvds_ser1: ds90ub913aq@74 {
		compatible = "ti,ds90ub913aq";
		reg = <0x74>;
	};

	lvds_des2: ds90ub914aq@64 {
		compatible = "ti,ds90ub914aq";
		reg = <0x64>;
	};

	lvds_ser2: ds90ub913aq@75 {
		compatible = "ti,ds90ub913aq";
		reg = <0x75>;
	};

	lvds_des3: ds90ub914aq@68 {
		compatible = "ti,ds90ub914aq";
		reg = <0x68>;
	};

	lvds_ser3: ds90ub913aq@76 {
		compatible = "ti,ds90ub913aq";
		reg = <0x76>;
	};

	lvds_des4: ds90ub914aq@6c {
		compatible = "ti,ds90ub914aq";
		reg = <0x6c>;
	};

	lvds_ser4: ds90ub913aq@77 {
		compatible = "ti,ds90ub913aq";
		reg = <0x77>;
	};

	lvds_des5: ds90ub914aq@61 {
		compatible = "ti,ds90ub914aq";
		reg = <0x61>;
	};

	lvds_ser5: ds90ub913aq@78 {
		compatible = "ti,ds90ub913aq";
		reg = <0x78>;
	};

	lvds_des6: ds90ub914aq@69 {
		compatible = "ti,ds90ub914aq";
		reg = <0x69>;
	};

	lvds_ser6: ds90ub913aq@79 {
		compatible = "ti,ds90ub913aq";
		reg = <0x79>;
	};
};

&i2c3 {
	status = "okay";
	pinctrl-names = "default";
	pinctrl-0 = <&i2c3_pins>;
	clock-frequency = <3400000>;
};

&i2c4 {
	status = "okay";
	pinctrl-names = "default";
	pinctrl-0 = <&i2c4_pins>;
	clock-frequency = <400000>;
};

&mcspi1 {
        status = "okay";
	pinctrl-names = "default";
	pinctrl-0 = <&mcspi1_pins>;
};

&mcspi2 {
        status = "okay";
	pinctrl-names = "default";
	pinctrl-0 = <&mcspi2_pins>;
};

&uart1 {
	status = "okay";
        pinctrl-names = "default";
        pinctrl-0 = <&uart1_pins>;
};

&uart3 {
        status = "okay";
        pinctrl-names = "default";
        pinctrl-0 = <&bt_uart3_pins>;
};

&qspi {
	status = "okay";
	pinctrl-names = "default";
	pinctrl-0 = <&qspi1_pins>;

	spi-max-frequency = <48000000>;
	m25p80@0 {
		compatible = "s25fl256s1";
		spi-max-frequency = <48000000>;
		reg = <0>;
		spi-tx-bus-width = <1>;
		spi-rx-bus-width = <4>;
		spi-cpol;
		spi-cpha;
		#address-cells = <1>;
		#size-cells = <1>;
	};
};

&usb1 {
	dr_mode = "host";
	pinctrl-names = "default";
	pinctrl-0 = <&usb1_pins>;
	gpios = <&gpio6 12 0>;
};

&usb2 {
	dr_mode = "otg";
	pinctrl-names = "default";
	pinctrl-0 = <&usb2_pins>;
	gpios = <&gpio6 13 0>;
};

&dwc3_1 {
	extcon = <&extcon1>;
};

&dwc3_2 {
	extcon = <&extcon2>;
};

&mmc1 {
	status = "okay";
	vmmc-supply = <&evm_3v3_sd>;
	vmmc_aux-supply = <&ldo1_reg>;
	pbias-supply = <&pbias_regulator>;
	bus-width = <4>;
	pinctrl-names = "default", "muxpu", "muxpd";
	pinctrl-0 = <&mmc1_pins>;
	pinctrl-1 = <&mmc1_muxpu>;
	pinctrl-2 = <&mmc1_muxpd>;
	cd-gpios = <&gpio6 27 0>; /* gpio 187 */
};

&mmc2 {
	status = "okay";
	vmmc-supply = <&evm_3v3_sw>;
	bus-width = <8>;
	ti,non-removable;
	cap-mmc-dual-data-rate;
};

&mmc4 {
       status = "okay";
       vmmc-supply = <&vmmcwl_fixed>;
       bus-width = <4>;
       cap-power-off-card;
       keep-power-in-suspend;
       ti,non-removable;
};

&vip1 {
	pinctrl-names = "default";
	/*
		Pinmux conflict between 1a:16-23 & 2a:0-8
		Either use full 32bit of vin1a or use 16bit vin1a and 8bitvin2a
		TO enable RGB camera, uncomment this
		pinctrl-0 = <&vin1a_pins &vin1a_d16_d23_pins>;
	*/
	pinctrl-0 = <&vin1a_pins &vin1a_d16_d23_pins>;
};

&vip2 {
	pinctrl-names = "default";
	pinctrl-0 = <&vin3a_pins>;
};

&vip3 {
	pinctrl-names = "default";
	//pinctrl-0 = <&vin5a_pins &vin6a_pins>;
	pinctrl-0 = <&vin5a_pins>;
};

&vin1a {
	endpoint@2 {
		slave-mode;
		remote-endpoint = <&cam1>;
	};
	endpoint@4 {
		slave-mode;
		remote-endpoint = <&cam_fpdlink>;
	};
	endpoint@0 {
		slave-mode;
		remote-endpoint = <&onboardLI>;
	};
	endpoint@1 {
		slave-mode;
		remote-endpoint = <&ovcam>;
	};
	endpoint@3 {
		slave-mode;
		remote-endpoint = <&tvp5158>;
	};
};

&vin2a {
	endpoint@0 {
		slave-mode;
		remote-endpoint = <&cam2>;
	};
};

&vin3a {
	endpoint@0 {
		slave-mode;
		remote-endpoint = <&cam3>;
	};
};

&vin5a {
	endpoint@0 {
		slave-mode;
		remote-endpoint = <&cam4>;
	};
};

&vin6a {
	endpoint@0 {
		slave-mode;
		remote-endpoint = <&cam6>;
	};
};

&dss {
	vdda_video-supply = <&ldoln_reg>;
};

&hdmi {
	vdda_hdmi_dac-supply = <&ldo3_reg>;
};

&avs_mpu {
	avs-supply = <&smps123_reg>;
	/* Account for Palmas accuracy not < 10mV */
	voltage-tolerance = <1>;
};

&avs_core {
	avs-supply = <&smps7_reg>;
	/* Account for Palmas accuracy not < 10mV */
	voltage-tolerance = <1>;
};

&avs_gpu {
	avs-supply = <&smps6_reg>;
	/* Account for Palmas accuracy not < 10mV */
	voltage-tolerance = <1>;
};

&avs_dspeve {
	avs-supply = <&smps45_reg>;
	/* Account for Palmas accuracy not < 10mV */
	voltage-tolerance = <1>;
};

&avs_iva {
	avs-supply = <&smps8_reg>;
	/* Account for Palmas accuracy not < 10mV */
	voltage-tolerance = <1>;
};

&cpu0 {
	cpu0-supply = <&abb_mpu>;
};

/ {
	aliases {
		display0 = &tlc59108;
		display1 = &hdmi0;
	};

	tpd12s015: encoder@0 {
		compatible = "ti,draevm-tpd12s015";

		video-source = <&hdmi>;

		gpios = <&pcf_hdmi 4 0>,	/* P4, CT CP HPD */
			<&pcf_hdmi 5 0>,	/* P5, LS OE */
			<&gpio7 12 0>;		/* gpio7_12/sp1_cs2, HPD */
	};

	hdmi0: connector@0 {
		compatible = "ti,hdmi_connector";

		video-source = <&tpd12s015>;
	};
};

&mac {
	status = "okay";
	pinctrl-names = "default", "sleep";
	pinctrl-0 = <&cpsw_default>;
	pinctrl-1 = <&cpsw_sleep>;
	dual_emac;
};

&cpsw_emac0 {
	phy_id = <&davinci_mdio>, <2>;
};

&cpsw_emac1 {
	phy_id = <&davinci_mdio>, <3>;
};

&davinci_mdio {
	pinctrl-names = "default", "sleep";
	pinctrl-0 = <&davinci_mdio_default>;
	pinctrl-1 = <&davinci_mdio_sleep>;
};

&elm {
	status = "okay";
};

&gpmc {
	status = "okay";
	pinctrl-names = "default";
	pinctrl-0 = <&nand_flash_x16>;
	ranges = <0 0 0x08000000 0x10000000>;
	nand@0,0 {
		reg = <0 0 0>;
		nand-bus-width = <16>;
		gpmc,device-width = <2>;
		gpmc,sync-clk-ps = <0>;
		gpmc,cs-on-ns = <0>;
		gpmc,cs-rd-off-ns = <40>;
		gpmc,cs-wr-off-ns = <40>;
		gpmc,adv-on-ns = <0>;
		gpmc,adv-rd-off-ns = <30>;
		gpmc,adv-wr-off-ns = <30>;
		gpmc,we-on-ns = <5>;
		gpmc,we-off-ns = <25>;
		gpmc,oe-on-ns = <2>;
		gpmc,oe-off-ns = <20>;
		gpmc,access-ns = <20>;
		gpmc,wr-access-ns = <40>;
		gpmc,rd-cycle-ns = <40>;
		gpmc,wr-cycle-ns = <40>;
		gpmc,wait-on-read = "true";
		gpmc,wait-on-write = "true";
		gpmc,bus-turnaround-ns = <0>;
		gpmc,cycle2cycle-delay-ns = <0>;
		gpmc,clk-activation-ns = <0>;
		gpmc,wait-monitoring-ns = <0>;
		gpmc,wr-data-mux-bus-ns = <0>;
		ti,nand-ecc-opt = "bch8";
		ti,elm-id = <&elm>;
		/* MTD partition table */
		/* All SPL-* partitions are sized to minimal length
		 * which can be independently programmable. For
		 * NAND flash this is equal to size of erase-block */
		#address-cells = <1>;
		#size-cells = <1>;
		partition@0 {
			label = "NAND.SPL";
			reg = <0x00000000 0x000020000>;
		};
		partition@1 {
			label = "NAND.SPL.backup1";
			reg = <0x00020000 0x00020000>;
		};
		partition@2 {
			label = "NAND.SPL.backup2";
			reg = <0x00040000 0x00020000>;
		};
		partition@3 {
			label = "NAND.SPL.backup3";
			reg = <0x00060000 0x00020000>;
		};
		partition@4 {
			label = "NAND.u-boot-spl-os";
			reg = <0x00080000 0x00040000>;
		};
		partition@5 {
			label = "NAND.u-boot";
			reg = <0x000C0000 0x00100000>;
		};
		partition@6 {
			label = "NAND.u-boot-env";
			reg = <0x001C0000 0x00020000>;
		};
		partition@7 {
			label = "NAND.u-boot-env.backup1";
			reg = <0x001E0000 0x00020000>;
		};
		partition@8 {
			label = "NAND.kernel";
			reg = <0x00200000 0x00800000>;
		};
		partition@9 {
			label = "NAND.file-system";
			reg = <0x00A00000 0x0F600000>;
		};
	};
};

&atl {
	status = "okay";

	atl1 {
		bws = <DRA7_ATL_WS_MCASP2_FSX>;
		aws = <DRA7_ATL_WS_MCASP3_FSX>;
	};

	atl2 {
		bws = <DRA7_ATL_WS_MCASP2_FSX>;
		aws = <DRA7_ATL_WS_MCASP3_FSX>;
	};
};

&mcasp3 {
	pinctrl-names = "default", "sleep";
	pinctrl-0 = <&mcasp3_pins>;
	pinctrl-1 = <&mcasp3_sleep_pins>;

	fck_parent = "atl_clkin2_ck";

	status = "okay";

	op-mode = <0>;          /* MCASP_IIS_MODE */
	tdm-slots = <2>;
	/* 16 serializer */
	serial-dir = <  /* 0: INACTIVE, 1: TX, 2: RX */
		1 2 0 0
		0 0 0 0
		0 0 0 0
		0 0 0 0
	>;

	ti,tx-inactive-mode = <2>; /* 0: Hi_Z, 2: Low, 3: High */
	ti,rx-inactive-mode = <2>; /* 0: Hi_Z, 2: Low, 3: High */
};
